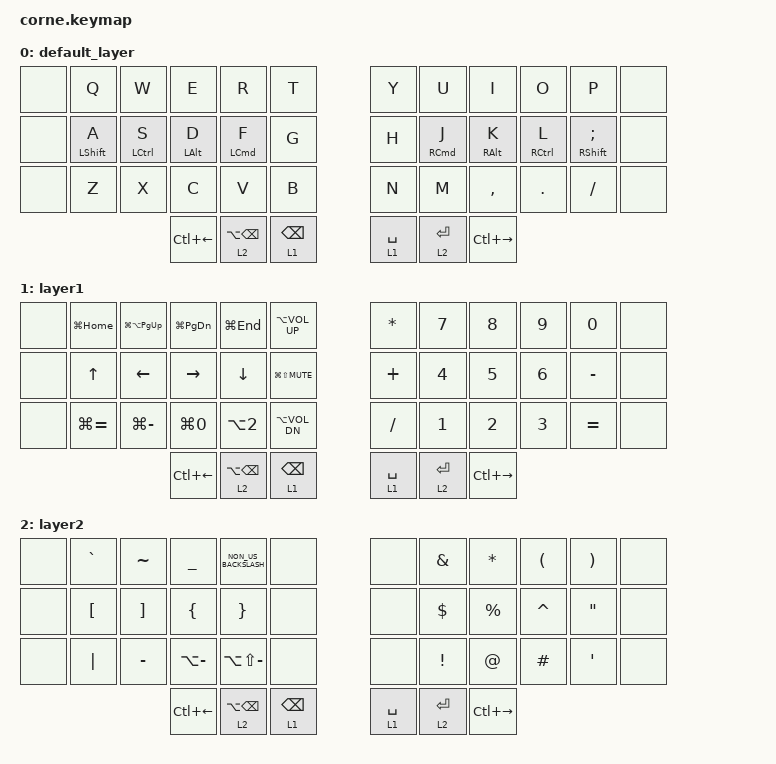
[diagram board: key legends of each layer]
/*
 * Copyright (c) 2020 The ZMK Contributors
 *
 * SPDX-License-Identifier: MIT
 */

#include <behaviors.dtsi>
#include <dt-bindings/zmk/keys.h>

/ {
    combos {
        compatible = "zmk,combos";

        Cut {
            bindings = <&kp LG(X)>;
            key-positions = <13 14>;
        };

        Copy {
            bindings = <&kp LG(C)>;
            key-positions = <15 16>;
        };

        Alfred {
            bindings = <&kp LG(SPACE)>;
            key-positions = <17 18>;
        };

        Paste {
            bindings = <&kp LG(V)>;
            key-positions = <19 20>;
        };

        PurePaste {
            bindings = <&kp LS(LG(V))>;
            key-positions = <21 22>;
        };

        LeftTab {
            bindings = <&kp LC(LS(TAB))>;
            key-positions = <13 15>;
        };

        RightTab {
            bindings = <&kp LC(TAB)>;
            key-positions = <20 22>;
        };

        Clipboard {
            bindings = <&kp LG(LS(V))>;
            key-positions = <16 19>;
        };

        LeftApp {
            bindings = <&kp LG(TAB)>;
            key-positions = <14 16>;
        };

        RightApp {
            bindings = <&kp LG(TAB)>;
            key-positions = <19 21>;
        };

        LeftDesktop {
            bindings = <&kp LC(LEFT)>;
            key-positions = <13 16>;
        };

        RightDesktop {
            bindings = <&kp LC(RIGHT)>;
            key-positions = <19 22>;
        };

        TextSniper {
            bindings = <&kp LG(LS(NUMBER_2))>;
            key-positions = <14 15>;
        };

        Undo {
            bindings = <&kp LG(Z)>;
            key-positions = <16 17>;
        };

        Redo {
            bindings = <&kp LG(LS(Z))>;
            key-positions = <18 19>;
        };

        LassoScreenshot {
            bindings = <&kp LG(LS(NUMBER_4))>;
            key-positions = <20 21>;
        };

        Escape {
            bindings = <&kp ESCAPE>;
            key-positions = <25 26>;
        };

        Tab {
            bindings = <&kp TAB>;
            key-positions = <27 28>;
        };

        LockMac {
            bindings = <&kp LG(L)>;
            key-positions = <29 30>;
        };

        Delete {
            bindings = <&kp DELETE>;
            key-positions = <31 32>;
        };

        CapsLock {
            bindings = <&kp CAPS>;
            key-positions = <33 34>;
        };

        ColorPicker {
            bindings = <&kp LG(LS(J))>;
            key-positions = <21 14>;
        };

        SelectAll {
            bindings = <&kp LG(A)>;
            key-positions = <15 20>;
        };
    };

    behaviors {
        kp_behavior: kp_behavior {
            compatible = "zmk,behavior-hold-tap";
            label = "KP_BEHAVIOR";
            bindings = <&kp>;
            #binding-cells = <2>;
            flavor = "balanced";
            tapping-term-ms = <100>;
            hold-while-undecided;
            hold-while-undecided-linger;
            hold-trigger-key-positions = <13 14 15 16 18 19 20 21 17 28 22 31 0 1 2 4 5 6 7 9 10 11 12 13 14 15 16 17 18 19 20 21 22 23 24 25 26 27 28 29 30 31 32 33 34 35 36 37 38 39 40 41 8 3>;
            quick-tap-ms = <75>;
            hold-trigger-on-release;
            require-prior-idle-ms = <50>;
            retro-tap;
        };

        lt_behavior: lt_behavior {
            compatible = "zmk,behavior-hold-tap";
            label = "LT_BEHAVIOR";
            bindings = <&lt>;
            #binding-cells = <2>;
            tapping-term-ms = <250>;
            quick-tap-ms = <175>;
            require-prior-idle-ms = <150>;
            flavor = "balanced";
            hold-while-undecided;
            hold-while-undecided-linger;
            hold-trigger-on-release;
            hold-trigger-key-positions = <0 1 2 4 5 6 7 9 10 11 12 13 14 15 16 17 18 19 20 21 22 23 24 25 26 27 28 29 30 31 32 33 34 35 36 37 38 39 40 41 8 3>;
            retro-tap;
        };

        mt_behavior: mt_behavior {
            compatible = "zmk,behavior-hold-tap";
            label = "MT_BEHAVIOR";
            bindings = <&mt>;
            #binding-cells = <2>;
            tapping-term-ms = <250>;
            quick-tap-ms = <175>;
            require-prior-idle-ms = <150>;
            flavor = "balanced";
            hold-while-undecided;
            hold-while-undecided-linger;
            hold-trigger-on-release;
            hold-trigger-key-positions = <0 1 2 4 5 6 7 9 10 11 12 13 14 15 16 17 18 19 20 21 22 23 24 25 26 27 28 29 30 31 32 33 34 35 36 37 38 39 40 41 8 3>;
            retro-tap;
        };
    };

    keymap {
        compatible = "zmk,keymap";

        default_layer {
            // -----------------------------------------------------------------------------------------
            // |  TAB |  Q  |  W  |  E  |  R  |  T  |   |  Y  |  U   |  I  |  O  |  P  | BSPC |
            // | CTRL |  A  |  S  |  D  |  F  |  G  |   |  H  |  J   |  K  |  L  |  ;  |  '   |
            // | SHFT |  Z  |  X  |  C  |  V  |  B  |   |  N  |  M   |  ,  |  .  |  /  | ESC  |
            //                    | GUI | LWR | SPC |   | ENT | RSE  | ALT |

            bindings = <
&none  &kp Q             &kp W               &kp E           &kp R                &kp T              &kp Y        &kp U                &kp I            &kp O                &kp P                 &none
&none  &mt LEFT_SHIFT A  &mt LEFT_CONTROL S  &mt LEFT_ALT D  &mt LEFT_COMMAND F   &kp G              &kp H        &mt RIGHT_COMMAND J  &mt RIGHT_ALT K  &mt RIGHT_CONTROL L  &mt RIGHT_SHIFT SEMI  &none
&none  &kp Z             &kp X               &kp C           &kp V                &kp B              &kp N        &kp M                &kp COMMA        &kp DOT              &kp FSLH              &none
                                             &kp LC(LEFT)    &lt 2 LA(BACKSPACE)  &lt 1 BACKSPACE    &lt 1 SPACE  &lt 2 ENTER          &kp LC(RIGHT)
            >;
        };

        layer1 {
            // -----------------------------------------------------------------------------------------
            // |  TAB |  1  |  2  |  3  |  4  |  5  |   |  6  |  7  |  8  |  9  |  0  | BSPC |
            // | BTCLR| BT1 | BT2 | BT3 | BT4 | BT5 |   | LFT | DWN |  UP | RGT |     |      |
            // | SHFT |     |     |     |     |     |   |     |     |     |     |     |      |
            //                    | GUI |     | SPC |   | ENT |     | ALT |

            bindings = <
&none  &kp LG(HOME)   &kp LG(LA(PAGE_UP))  &kp LG(PAGE_DOWN)  &kp LG(END)          &kp LA(C_VOLUME_UP)    &kp ASTERISK  &kp N7        &kp N8               &kp N9        &kp N0     &none
&none  &kp UP         &kp LEFT             &kp RIGHT          &kp DOWN             &kp LG(LS(K_MUTE))     &kp PLUS      &kp NUMBER_4  &kp N5               &kp NUMBER_6  &kp MINUS  &none
&none  &kp LG(EQUAL)  &kp LG(MINUS)        &kp LG(N0)         &kp LA(NUMBER_2)     &kp LA(C_VOL_DN)       &kp SLASH     &kp NUMBER_1  &kp NUMBER_2         &kp NUMBER_3  &kp EQUAL  &none
                                           &kp LC(LEFT)       &lt 2 LA(BACKSPACE)  &lt 1 BACKSPACE        &lt 1 SPACE   &lt 2 ENTER   &kp LC(RIGHT_ARROW)
            >;
        };

        layer2 {
            // -----------------------------------------------------------------------------------------
            // |  TAB |  !  |  @  |  #  |  $  |  %  |   |  ^  |  &  |  *  |  (  |  )  | BSPC |
            // | CTRL |     |     |     |     |     |   |  -  |  =  |  [  |  ]  |  \  |  `   |
            // | SHFT |     |     |     |     |     |   |  _  |  +  |  {  |  }  | "|" |  ~   |
            //                    | GUI |     | SPC |   | ENT |     | ALT |

            bindings = <
&none  &kp GRAVE         &kp TILDE          &kp UNDERSCORE  &kp NON_US_BACKSLASH  &none              &none        &kp AMPERSAND    &kp ASTERISK   &kp LEFT_PARENTHESIS  &kp RIGHT_PARENTHESIS  &none
&none  &kp LEFT_BRACKET  &kp RIGHT_BRACKET  &kp LEFT_BRACE  &kp RIGHT_BRACE       &none              &none        &kp DOLLAR       &kp PERCENT    &kp CARET             &kp DOUBLE_QUOTES      &none
&none  &kp PIPE          &kp MINUS          &kp LA(MINUS)   &kp LA(LS(MINUS))     &none              &none        &kp EXCLAMATION  &kp AT_SIGN    &kp POUND             &kp SQT                &none
                                            &kp LC(LEFT)    &lt 2 LA(BACKSPACE)   &lt 1 BACKSPACE    &lt 1 SPACE  &lt 2 ENTER      &kp LC(RIGHT)
            >;
        };
    };
};
